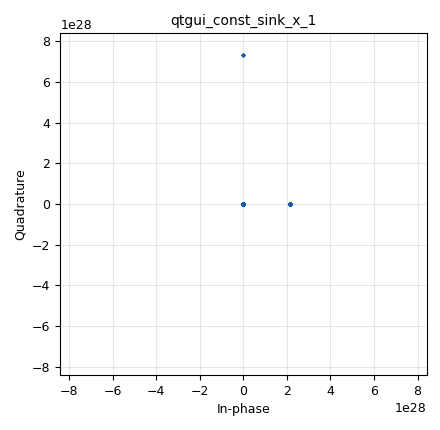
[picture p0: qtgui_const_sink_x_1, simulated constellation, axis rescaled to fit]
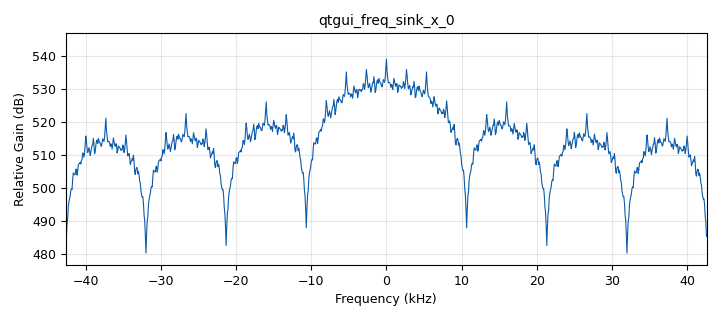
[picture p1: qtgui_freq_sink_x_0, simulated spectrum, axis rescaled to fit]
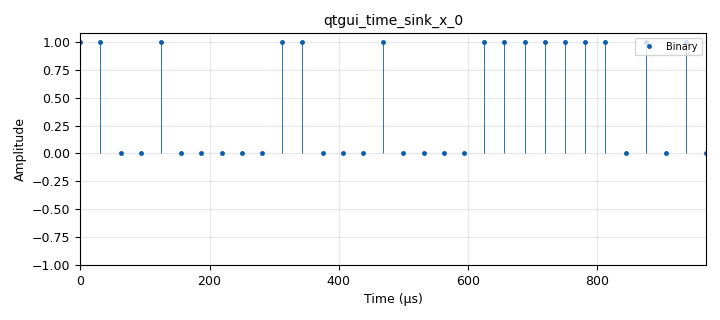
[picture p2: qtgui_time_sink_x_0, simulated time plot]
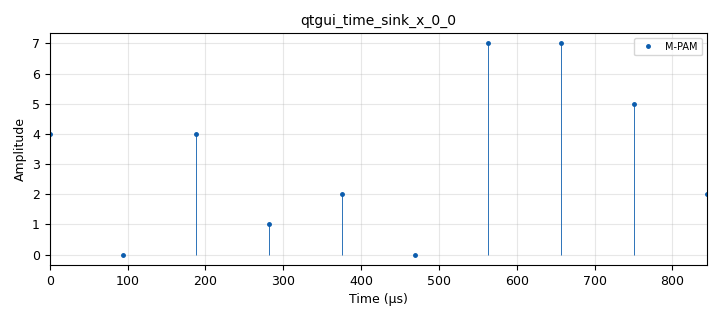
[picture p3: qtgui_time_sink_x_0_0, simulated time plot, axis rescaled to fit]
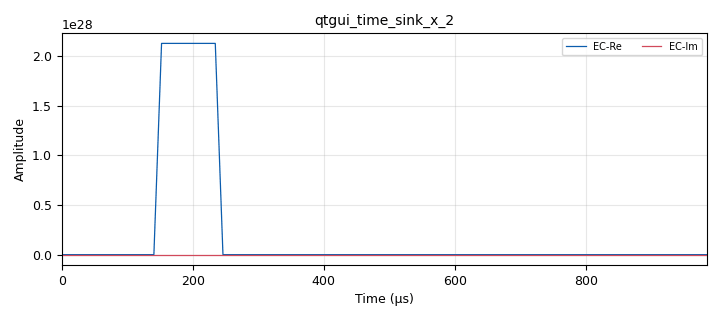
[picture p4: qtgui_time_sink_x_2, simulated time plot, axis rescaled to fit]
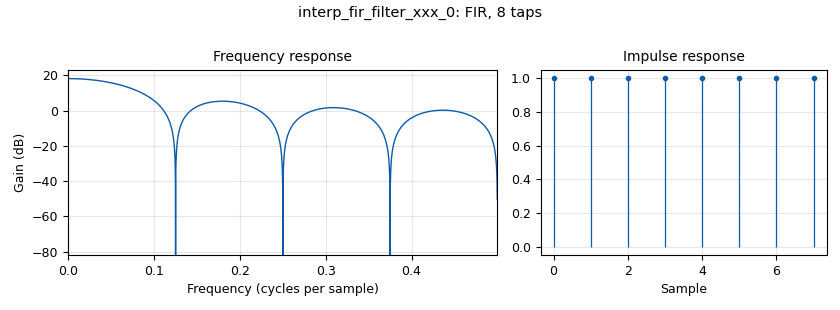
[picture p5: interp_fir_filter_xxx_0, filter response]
options:
  parameters:
    generate_options: qt_gui
    id: untitled
    output_language: python
    title: Not titled yet
  states: {}

blocks:
- name: M
  id: variable
  parameters:
    value: '8'
  states: {}
- name: Nbps
  id: variable
  parameters:
    value: int(math.log(M,2))
  states: {}
- name: Rb
  id: variable
  parameters:
    value: '32000'
  states: {}
- name: Rs
  id: variable
  parameters:
    value: Rb/Nbps
  states: {}
- name: Sps
  id: variable
  parameters:
    value: len(h)
  states: {}
- name: h
  id: variable
  parameters:
    value: (1, 1, 1, 1,1, 1, 1, 1)
  states: {}
- name: samp_rate
  id: variable
  parameters:
    value: Rs*Sps
  states: {}
- name: Constelacion
  id: parameter
  parameters:
    label: Tabla de verdad
    value: digital . constellation_8psk () . points ()
  states: {}
- name: analog_const_source_x_0
  id: analog_const_source_x
  parameters:
    const: '1'
    type: float
  states: {state: disabled}
- name: analog_noise_source_x_0
  id: analog_noise_source_x
  parameters:
    amp: '0.001'
    noise_type: analog.GR_GAUSSIAN
    seed: '0'
    type: complex
  states: {}
- name: analog_random_source_x_0
  id: analog_random_source_x
  parameters:
    max: '2'
    min: '0'
    num_samps: '1000'
    repeat: 'True'
    type: byte
  states: {}
- name: blocks_add_xx_0
  id: blocks_add_xx
  parameters:
    type: complex
  states: {}
- name: blocks_char_to_float_0
  id: blocks_char_to_float
  parameters:
    scale: '1'
  states: {}
- name: blocks_char_to_float_0_0
  id: blocks_char_to_float
  parameters:
    scale: '1'
  states: {}
- name: blocks_char_to_float_1
  id: blocks_char_to_float
  parameters:
    scale: '1'
  states: {state: disabled}
- name: blocks_multiply_const_vxx_0
  id: blocks_multiply_const_vxx
  parameters:
    const: 2*math.pi/M
    type: float
  states: {state: disabled}
- name: blocks_repack_bits_bb_0
  id: blocks_repack_bits_bb
  parameters:
    endianness: gr.GR_LSB_FIRST
    k: '1'
    l: Nbps
  states: {}
- name: digital_chunks_to_symbols_xx_0
  id: digital_chunks_to_symbols_xx
  parameters:
    dimension: '4'
    in_type: byte
    out_type: complex
    symbol_table: Constelacion
  states: {}
- name: epy_block_0
  id: epy_block
  parameters:
    _source_code: |
      """
      Embedded Python Blocks:

      Each time this file is saved, GRC will instantiate the first class it finds
      to get ports and parameters of your block. The arguments to __init__  will
      be the parameters. All of them are required to have default values!
      """

      import numpy as np
      from gnuradio import gr


      class blk(gr.sync_block):  # other base classes are basic_block, decim_block, interp_block
          """Embedded Python Block example - a simple multiply const"""

          def __init__(self, example_param=1.0):  # only default arguments here
              """arguments to this function show up as parameters in GRC"""
              gr.sync_block.__init__(
                  self,
                  name='VCO complex',   # will show up in GRC
                  in_sig=[np.float32, np.float32],
                  out_sig=[np.complex64]
              )
              # if an attribute with the same name as a parameter is found,
              # a callback is registered (properties work, too).
              self.example_param = example_param

          def work(self, input_items, output_items):
              Q = input_items[0] #entrada de fase
              A = input_items[1] #entrada de magnitud
              Sec = output_items[0] #señal envolvente compleja 
              Sec[:] = A*np.exp(1.j*Q)
              return len(Sec)
          
              """example: multiply with constant"""
              output_items[0][:] = input_items[0] * self.example_param
              return len(output_items[0])
    example_param: '1.0'
  states: {state: disabled}
- name: import_0
  id: import
  parameters:
    imports: import math
  states: {}
- name: interp_fir_filter_xxx_0
  id: interp_fir_filter_xxx
  parameters:
    interp: '8'
    taps: h
    type: ccc
  states: {}
- name: qtgui_const_sink_x_0
  id: qtgui_const_sink_x
  parameters:
    size: '1024'
    type: complex
  states: {state: disabled}
- name: qtgui_const_sink_x_1
  id: qtgui_const_sink_x
  parameters:
    size: '1024'
    type: complex
  states: {}
- name: qtgui_freq_sink_x_0
  id: qtgui_freq_sink_x
  parameters:
    average: '0.05'
    bw: samp_rate
    fc: '0'
    fftsize: '1024'
    type: complex
  states: {}
- name: qtgui_time_sink_x_0
  id: qtgui_time_sink_x
  parameters:
    label1: Binary
    marker1: '0'
    size: '32'
    srate: Rb
    stemplot: 'True'
    type: float
  states: {}
- name: qtgui_time_sink_x_0_0
  id: qtgui_time_sink_x
  parameters:
    label1: M-PAM
    marker1: '0'
    size: int(32/Nbps)
    srate: Rs
    stemplot: 'True'
    type: float
  states: {}
- name: qtgui_time_sink_x_0_0_0
  id: qtgui_time_sink_x
  parameters:
    label1: M-PAM-Mod
    marker1: '0'
    size: int(32/Nbps)
    srate: Rs
    stemplot: 'True'
    type: float
  states: {state: disabled}
- name: qtgui_time_sink_x_1
  id: qtgui_time_sink_x
  parameters:
    label1: EC-Re
    label2: EC-Im
    marker1: '0'
    marker2: '0'
    size: int(32/Nbps)
    srate: Rs
    stemplot: 'True'
    type: complex
  states: {state: disabled}
- name: qtgui_time_sink_x_2
  id: qtgui_time_sink_x
  parameters:
    label1: EC-Re
    label2: EC-Im
    size: int(32*Sps/Nbps)
    srate: samp_rate
    type: complex
  states: {}

connections:
- [analog_const_source_x_0, '0', epy_block_0, '1']
- [analog_noise_source_x_0, '0', blocks_add_xx_0, '1']
- [analog_random_source_x_0, '0', blocks_char_to_float_0, '0']
- [analog_random_source_x_0, '0', blocks_repack_bits_bb_0, '0']
- [blocks_add_xx_0, '0', qtgui_const_sink_x_1, '0']
- [blocks_char_to_float_0, '0', qtgui_time_sink_x_0, '0']
- [blocks_char_to_float_0_0, '0', qtgui_time_sink_x_0_0, '0']
- [blocks_char_to_float_1, '0', blocks_multiply_const_vxx_0, '0']
- [blocks_multiply_const_vxx_0, '0', epy_block_0, '0']
- [blocks_multiply_const_vxx_0, '0', qtgui_time_sink_x_0_0_0, '0']
- [blocks_repack_bits_bb_0, '0', blocks_char_to_float_0_0, '0']
- [blocks_repack_bits_bb_0, '0', blocks_char_to_float_1, '0']
- [blocks_repack_bits_bb_0, '0', digital_chunks_to_symbols_xx_0, '0']
- [digital_chunks_to_symbols_xx_0, '0', interp_fir_filter_xxx_0, '0']
- [epy_block_0, '0', interp_fir_filter_xxx_0, '0']
- [epy_block_0, '0', qtgui_const_sink_x_0, '0']
- [epy_block_0, '0', qtgui_time_sink_x_1, '0']
- [interp_fir_filter_xxx_0, '0', blocks_add_xx_0, '0']
- [interp_fir_filter_xxx_0, '0', qtgui_freq_sink_x_0, '0']
- [interp_fir_filter_xxx_0, '0', qtgui_time_sink_x_2, '0']

metadata:
  file_format: 1
  grc_version: 3.10.7.0
